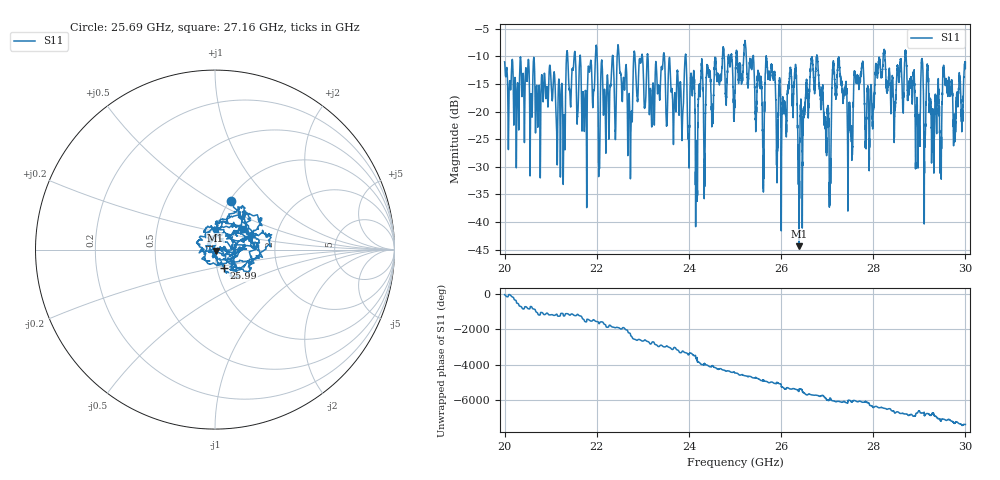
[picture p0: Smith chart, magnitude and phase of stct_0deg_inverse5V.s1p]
#  HZ  S  RI  R  50.00
! Rohde & Schwarz ZVA40 4Ports - Version 3.90 - 1145.1110k42 SN: 100403
! Date: 2023-09-28 08:20:55
! Measurement: S22
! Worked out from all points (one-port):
!   5001 points, 20 GHz to 30 GHz, reference 50 ohm
!   lowest |S11| = -44.4 dB at 26.39 GHz (marker M1), VSWR 1.01, Z = 50.3 - j0.518 ohm
!   |S11| at or under -10 dB: start of sweep to 21.34 GHz; 26.78 GHz to 28.22 GHz (1.436 GHz wide, 5.22 % of centre); 28.72 GHz to end of sweep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
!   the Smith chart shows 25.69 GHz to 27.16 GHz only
!   S11 on the Smith chart (normalised r, x): 25.69 GHz: 1.02, +0.60; 25.99 GHz: 1.08, -0.23; 27.16 GHz: 1.33, +0.32
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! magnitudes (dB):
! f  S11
! 20 GHz  -11.0
! 21.25 GHz  -15.9
! 21.5 GHz  -11.0
! 21.74 GHz  -18.6
! 22.5 GHz  -12.6
! 22.72 GHz  -20.1
! 22.96 GHz  -11.0
! 23.75 GHz  -12.5
! 24.08 GHz  -15.8
! 24.17 GHz  -30.0
! 24.26 GHz  -13.9
! 25 GHz  -16.6
! 25.36 GHz  -11.0
! 25.6 GHz  -26.5
! 25.69 GHz  -10.9
! 25.99 GHz  -18.9
! 26.25 GHz  -19.1
! 26.39 GHz  -44.4
! 26.78 GHz  -9.9
! 27.04 GHz  -22.6
! 27.16 GHz  -14.2
! 27.5 GHz  -22.7
! 27.75 GHz  -12.2
! 27.87 GHz  -16.4
! 28.1 GHz  -13.1
! 28.75 GHz  -17.2
! 29.29 GHz  -22.2
! 30 GHz  -11.1
